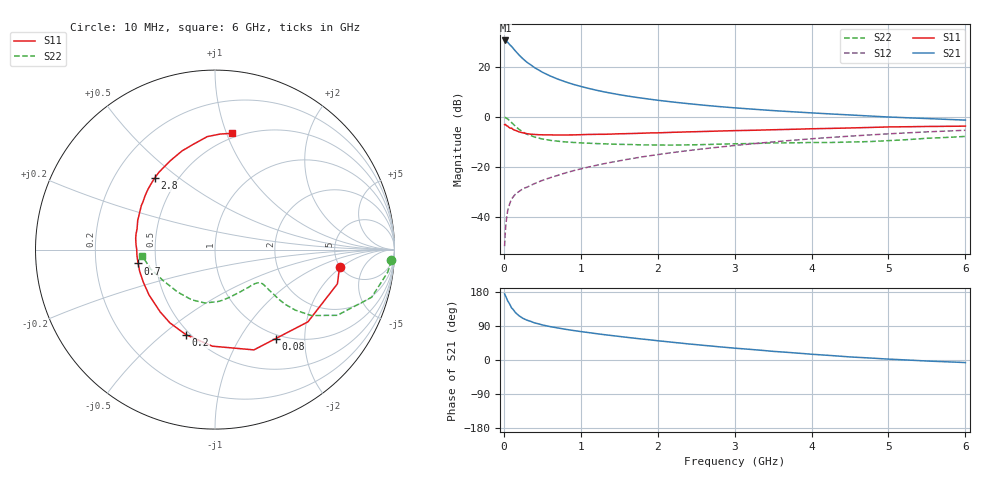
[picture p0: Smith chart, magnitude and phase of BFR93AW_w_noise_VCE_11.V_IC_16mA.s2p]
! Infineon Technologies  Discrete & RF Semiconductors
! BFR93AW
! VCE =  11. V,  IC =  16 mA
! Common Emitter S-Parameters:  Jan 2017
# GHz  S  MA  R  50
!  f  S11  S21  S12  S22
! GHz  MAG  ANG  MAG  ANG  MAG  ANG  MAG  ANG
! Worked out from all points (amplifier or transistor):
!   77 points, 10 MHz to 6 GHz, reference 50 ohm
!   highest |S21| = 30.6 dB at 20 MHz (marker M1)
!   |S21| within 3 dB of that: start of sweep to 117.3 MHz
!   unconditionally stable (mu >= 1): 765.1 MHz to 2.083 GHz
!   at 130 MHz: K = 0.38, MSG = 29.4 dB, |S12| = -31.7 dB
!   at 2.2 GHz: K = 0.99, MSG = 10.1 dB, |S12| = -14.2 dB
!   at 6 GHz: K = 0.85, MSG = 2.0 dB, |S12| = -5.3 dB
!   lowest NFmin = 1.41 dB at 450 MHz
!   S11 on the Smith chart (normalised r, x): 10 MHz: 4.94, -1.87; 80 MHz: 0.93, -1.45; 200 MHz: 0.48, -0.60; 700 MHz: 0.40, -0.08; 2.8 GHz: 0.37, +0.41; 6 GHz: 0.46, +1.04
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0.01  0.7005 -7.9  33.74 174.4  0.0026 85.1  0.9845 -3.5
0.02  0.7083 -15.6  33.84 169.8  0.0053 84.8  0.9714 -7.3
0.05  0.6557 -37.9  31.13 156.0  0.0133 70.9  0.9124 -16.9
0.08  0.5999 -55.8  27.57 145.9  0.019 65.9  0.8256 -23.2
0.1  0.5993 -68.8  25.77 137.8  0.0228 63.9  0.7744 -28.2
0.15  0.5383 -91.6  20.88 125.2  0.0284 57.6  0.6501 -34.4
0.2  0.5012 -108.7  17.17 116.4  0.0325 56.0  0.5604 -37.0
0.25  0.4796 -121.5  14.47 109.8  0.0368 55.8  0.4974 -37.9
0.3  0.4623 -131.4  12.4 105.1  0.0393 56.2  0.4512 -37.9
0.4  0.4461 -145.5  9.656 97.9  0.0464 58.1  0.3953 -37.1
0.5  0.4387 -155.8  7.849 92.6  0.0537 60.1  0.3614 -36.4
0.6  0.4369 -163.7  6.624 88.2  0.0607 62.2  0.3409 -35.9
0.7  0.4352 -169.8  5.717 84.6  0.0677 64.1  0.3271 -35.7
0.9  0.4363 180.0  4.493 78.0  0.0836 65.3  0.3092 -36.8
1.1  0.4463 171.9  3.725 72.4  0.0994 67.1  0.2982 -38.8
1.5  0.4601 159.4  2.788 62.2  0.1323 67.2  0.2829 -45.8
2.1  0.4863 144.4  2.069 48.8  0.1853 64.9  0.2736 -61.3
2.8  0.5221 130.0  1.61 34.8  0.2493 60.5  0.2855 -81.8
3.1  0.5354 124.1  1.481 29.7  0.2776 57.8  0.2915 -90.1
4.1  0.5835 106.9  1.181 13.9  0.3747 48.5  0.3077 -118.2
5.1  0.6331 92.6  0.982 1.4  0.4674 37.5  0.3414 -151.8
6  0.6544 81.8  0.863 -6.8  0.5408 27.1  0.4075 -175.1
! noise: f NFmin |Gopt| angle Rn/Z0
0.45  1.41  0.12  146  0.13
0.9  1.69  0.23  168  0.14
1.9  2.69  0.47  -141  0.21
2.4  3.31  0.54  -127  0.41
